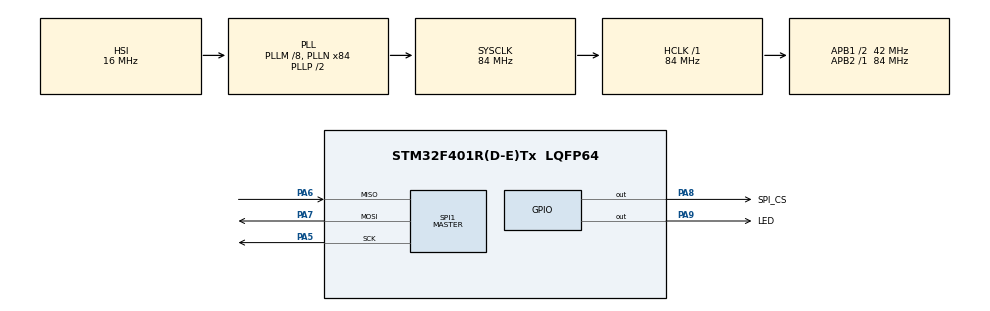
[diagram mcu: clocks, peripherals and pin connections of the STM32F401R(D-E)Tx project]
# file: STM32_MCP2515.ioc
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Mcu.Family=STM32F4
Mcu.Name=STM32F401R(D-E)Tx
Mcu.Package=LQFP64
NVIC.PriorityGroup=NVIC_PRIORITYGROUP_4
PA13.Mode=Serial_Wire
PA13.Signal=SYS_JTMS-SWDIO
PA14.Mode=Serial_Wire
PA14.Signal=SYS_JTCK-SWCLK
PA5.Mode=Full_Duplex_Master
PA5.Signal=SPI1_SCK
PA6.GPIO_PuPd=GPIO_NOPULL
PA6.Mode=Full_Duplex_Master
PA6.Signal=SPI1_MISO
PA7.Mode=Full_Duplex_Master
PA7.Signal=SPI1_MOSI
PA8.GPIO_Label=SPI_CS
PA8.PinState=GPIO_PIN_SET
PA8.Signal=GPIO_Output
PA9.GPIO_Label=LED
PA9.Signal=GPIO_Output
PH0\ -\ OSC_IN.Mode=HSE-External-Oscillator
PH0\ -\ OSC_IN.Signal=RCC_OSC_IN
PH1\ -\ OSC_OUT.Mode=HSE-External-Oscillator
PH1\ -\ OSC_OUT.Signal=RCC_OSC_OUT
ProjectManager.HeapSize=0x200
ProjectManager.StackSize=0x400
ProjectManager.TargetToolchain=STM32CubeIDE
RCC.48MHZClocksFreq_Value=42000000
RCC.AHBFreq_Value=84000000
RCC.APB1CLKDivider=RCC_HCLK_DIV2
RCC.APB1Freq_Value=42000000
RCC.APB1TimFreq_Value=84000000
RCC.APB2Freq_Value=84000000
RCC.APB2TimFreq_Value=84000000
RCC.CortexFreq_Value=84000000
RCC.HCLKFreq_Value=84000000
RCC.HSE_VALUE=25000000
RCC.HSI_VALUE=16000000
RCC.LSE_VALUE=32768
RCC.PLLM=8
RCC.PLLN=84
RCC.SYSCLKFreq_VALUE=84000000
RCC.SYSCLKSource=RCC_SYSCLKSOURCE_PLLCLK
RCC.VCOOutputFreq_Value=168000000
SPI1.BaudRatePrescaler=SPI_BAUDRATEPRESCALER_8
SPI1.Direction=SPI_DIRECTION_2LINES
SPI1.Mode=SPI_MODE_MASTER
SPI1.VirtualType=VM_MASTER
board=custom

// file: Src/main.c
/* USER CODE BEGIN Header */
/**
  ******************************************************************************
  * @file           : main.c
  * @brief          : Main program body
  ******************************************************************************
  * @attention
  *
  * Copyright (c) 2022 STMicroelectronics.
  * All rights reserved.
  *
  * This software is licensed under terms that can be found in the LICENSE file
  * in the root directory of this software component.
  * If no LICENSE file comes with this software, it is provided AS-IS.
  *
  ******************************************************************************
  */
/* USER CODE END Header */
#include "main.h"
#include "stm32f4xx_hal.h"

/* USER CODE BEGIN Includes */
#include "CAN_SPI.h"

/* USER CODE END Includes */

SPI_HandleTypeDef hspi1;

/* USER CODE BEGIN PV */
uCAN_MSG txMessage;
uCAN_MSG rxMessage;
/* USER CODE END PV */

void SystemClock_Config(void);
static void MX_GPIO_Init(void);
static void MX_SPI1_Init(void);

int main(void)
{

  /* MCU Configuration--------------------------------------------------------*/

  /* Reset of all peripherals, Initializes the Flash interface and the Systick. */
  HAL_Init();

  /* Configure the system clock */
  SystemClock_Config();

  /* Initialize all configured peripherals */
  MX_GPIO_Init();
  MX_SPI1_Init();
  /* USER CODE BEGIN 2 */
  HAL_GPIO_WritePin(LED_GPIO_Port, LED_Pin, GPIO_PIN_RESET);

  int ret;
  ret = CANSPI_Initialize();
  if(ret < 0){
  	  HAL_GPIO_WritePin(LED_GPIO_Port, LED_Pin, GPIO_PIN_SET);
  	  while(1){}
  }

  /* USER CODE END 2 */

  /* Infinite loop */
  while (1)
  {

    /* USER CODE BEGIN 3 */
  if(CANSPI_Receive(&rxMessage)){
	  if(rxMessage.frame.id == 0x36){
		  if(rxMessage.frame.data0 == 1){
			  HAL_GPIO_WritePin(LED_GPIO_Port, LED_Pin, GPIO_PIN_SET);
		  }else{
			  HAL_GPIO_WritePin(LED_GPIO_Port, LED_Pin, GPIO_PIN_RESET);
		  }
	  }

	  	HAL_Delay(100);
		txMessage.frame.idType = rxMessage.frame.idType;
		txMessage.frame.id = 0x0A;
		txMessage.frame.dlc = 8;
		txMessage.frame.data0 = 0;
		txMessage.frame.data1 = 1;
		txMessage.frame.data2 = 2;
		txMessage.frame.data3 = 3;
		txMessage.frame.data4 = 4;
		txMessage.frame.data5 = 5;
		txMessage.frame.data6 = 6;
		txMessage.frame.data7 = 7;
		CANSPI_Transmit(&txMessage);
	  }

  }
  /* USER CODE END 3 */
}

void SystemClock_Config(void)
{
  RCC_OscInitTypeDef RCC_OscInitStruct = {0};
  RCC_ClkInitTypeDef RCC_ClkInitStruct = {0};

  /** Configure the main internal regulator output voltage
  */
  __HAL_RCC_PWR_CLK_ENABLE();
  __HAL_PWR_VOLTAGESCALING_CONFIG(PWR_REGULATOR_VOLTAGE_SCALE2);

  /** Initializes the RCC Oscillators according to the specified parameters
  * in the RCC_OscInitTypeDef structure.
  */
  RCC_OscInitStruct.OscillatorType = RCC_OSCILLATORTYPE_HSI;
  RCC_OscInitStruct.HSIState = RCC_HSI_ON;
  RCC_OscInitStruct.HSICalibrationValue = RCC_HSICALIBRATION_DEFAULT;
  RCC_OscInitStruct.PLL.PLLState = RCC_PLL_ON;
  RCC_OscInitStruct.PLL.PLLSource = RCC_PLLSOURCE_HSI;
  RCC_OscInitStruct.PLL.PLLM = 8;
  RCC_OscInitStruct.PLL.PLLN = 84;
  RCC_OscInitStruct.PLL.PLLP = RCC_PLLP_DIV2;
  RCC_OscInitStruct.PLL.PLLQ = 4;
  if (HAL_RCC_OscConfig(&RCC_OscInitStruct) != HAL_OK)
  {
    Error_Handler();
  }

  /** Initializes the CPU, AHB and APB buses clocks
  */
  RCC_ClkInitStruct.ClockType = RCC_CLOCKTYPE_HCLK|RCC_CLOCKTYPE_SYSCLK
                              |RCC_CLOCKTYPE_PCLK1|RCC_CLOCKTYPE_PCLK2;
  RCC_ClkInitStruct.SYSCLKSource = RCC_SYSCLKSOURCE_PLLCLK;
  RCC_ClkInitStruct.AHBCLKDivider = RCC_SYSCLK_DIV1;
  RCC_ClkInitStruct.APB1CLKDivider = RCC_HCLK_DIV2;
  RCC_ClkInitStruct.APB2CLKDivider = RCC_HCLK_DIV1;

  if (HAL_RCC_ClockConfig(&RCC_ClkInitStruct, FLASH_LATENCY_2) != HAL_OK)
  {
    Error_Handler();
  }
}

static void MX_SPI1_Init(void)
{

  /* SPI1 parameter configuration*/
  hspi1.Instance = SPI1;
  hspi1.Init.Mode = SPI_MODE_MASTER;
  hspi1.Init.Direction = SPI_DIRECTION_2LINES;
  hspi1.Init.DataSize = SPI_DATASIZE_8BIT;
  hspi1.Init.CLKPolarity = SPI_POLARITY_LOW;
  hspi1.Init.CLKPhase = SPI_PHASE_1EDGE;
  hspi1.Init.NSS = SPI_NSS_SOFT;
  hspi1.Init.BaudRatePrescaler = SPI_BAUDRATEPRESCALER_8;
  hspi1.Init.FirstBit = SPI_FIRSTBIT_MSB;
  hspi1.Init.TIMode = SPI_TIMODE_DISABLE;
  hspi1.Init.CRCCalculation = SPI_CRCCALCULATION_DISABLE;
  hspi1.Init.CRCPolynomial = 10;
  if (HAL_SPI_Init(&hspi1) != HAL_OK)
  {
    Error_Handler();
  }

}

static void MX_GPIO_Init(void)
{
  GPIO_InitTypeDef GPIO_InitStruct = {0};

  /* GPIO Ports Clock Enable */
  __HAL_RCC_GPIOH_CLK_ENABLE();
  __HAL_RCC_GPIOA_CLK_ENABLE();

  /*Configure GPIO pin Output Level */
  HAL_GPIO_WritePin(SPI_CS_GPIO_Port, SPI_CS_Pin, GPIO_PIN_SET);

  /*Configure GPIO pin Output Level */
  HAL_GPIO_WritePin(LED_GPIO_Port, LED_Pin, GPIO_PIN_RESET);

  /*Configure GPIO pins : SPI_CS_Pin LED_Pin */
  GPIO_InitStruct.Pin = SPI_CS_Pin|LED_Pin;
  GPIO_InitStruct.Mode = GPIO_MODE_OUTPUT_PP;
  GPIO_InitStruct.Pull = GPIO_NOPULL;
  GPIO_InitStruct.Speed = GPIO_SPEED_FREQ_LOW;
  HAL_GPIO_Init(GPIOA, &GPIO_InitStruct);

}

void Error_Handler(void)
{
  __disable_irq();
  while (1)
  {
  }
}
